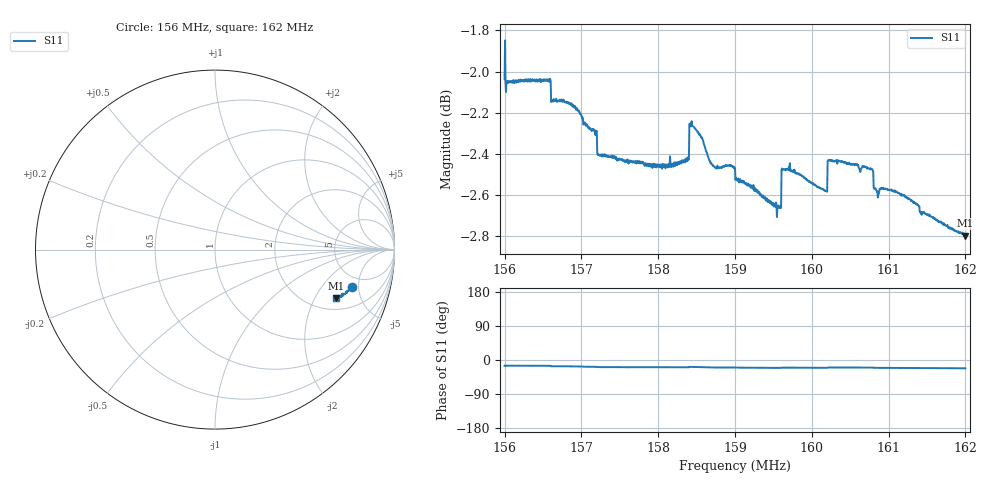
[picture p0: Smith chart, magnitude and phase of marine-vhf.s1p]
! Calibrated averaged scanner-service zoom
# Hz S RI R 50
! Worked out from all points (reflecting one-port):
!   1001 points, 156 MHz to 162 MHz, reference 50 ohm
!   lowest |S11| = -2.8 dB at 162 MHz (marker M1), VSWR 6.26, Z = 132 - j150 ohm
!   phase of S11 starts at -15 deg and turns -7 deg over the sweep
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1.56e8  0.7633 -0.2074
1.56042e8  0.7634 -0.2027
1.5657e8  0.763 -0.2076
1.56636e8  0.7487 -0.2239
1.5675e8  0.7493 -0.2224
1.56924e8  0.7447 -0.2263
1.57056e8  0.7336 -0.236
1.5717e8  0.7313 -0.2376
1.57236e8  0.7177 -0.2434
1.575e8  0.7159 -0.2446
1.5825e8  0.7112 -0.2499
1.5837e8  0.7132 -0.25
1.58436e8  0.7341 -0.2408
1.58556e8  0.7256 -0.2455
1.58712e8  0.7096 -0.2534
1.58946e8  0.7095 -0.2548
1.59e8  0.7079 -0.2555
1.5957e8  0.6885 -0.2618
1.59636e8  0.7061 -0.2589
1.5975e8  0.7048 -0.2592
1.6017e8  0.6952 -0.2623
1.60236e8  0.7113 -0.2553
1.605e8  0.71 -0.2548
1.6077e8  0.707 -0.2571
1.60848e8  0.6942 -0.2638
1.6125e8  0.6909 -0.2645
1.61436e8  0.684 -0.2669
1.62e8  0.6724 -0.2703
